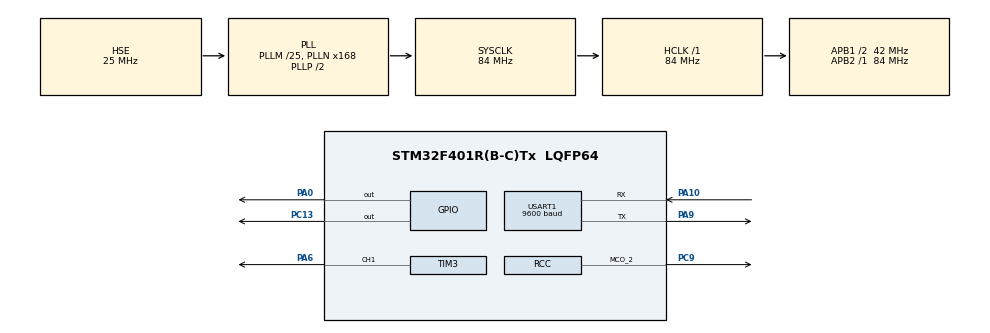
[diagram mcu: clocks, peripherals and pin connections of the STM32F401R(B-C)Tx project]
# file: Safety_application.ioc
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Mcu.Family=STM32F4
Mcu.Name=STM32F401R(B-C)Tx
Mcu.Package=LQFP64
NVIC.PriorityGroup=NVIC_PRIORITYGROUP_4
NVIC.TIM3_IRQn=true\:0\:0\:false\:false\:true\:true\:true\:true
NVIC.TIM5_IRQn=true\:0\:0\:false\:false\:true\:true\:true\:true
NVIC.USART1_IRQn=true\:1\:0\:true\:false\:true\:true\:true\:true
PA0-WKUP.Signal=GPIO_Output
PA10.Mode=Asynchronous
PA10.Signal=USART1_RX
PA13.Mode=Serial_Wire
PA13.Signal=SYS_JTMS-SWDIO
PA14.Mode=Serial_Wire
PA14.Signal=SYS_JTCK-SWCLK
PA6.Signal=S_TIM3_CH1
PA9.Mode=Asynchronous
PA9.Signal=USART1_TX
PC13-ANTI_TAMP.Signal=GPIO_Output
PC14-OSC32_IN.Mode=LSE-External-Oscillator
PC14-OSC32_IN.Signal=RCC_OSC32_IN
PC15-OSC32_OUT.Mode=LSE-External-Oscillator
PC15-OSC32_OUT.Signal=RCC_OSC32_OUT
PC9.Mode=Clock-out-2
PC9.Signal=RCC_MCO_2
PH0\ -\ OSC_IN.Mode=HSE-External-Oscillator
PH0\ -\ OSC_IN.Signal=RCC_OSC_IN
PH1\ -\ OSC_OUT.Mode=HSE-External-Oscillator
PH1\ -\ OSC_OUT.Signal=RCC_OSC_OUT
ProjectManager.HeapSize=0x200
ProjectManager.StackSize=0x400
ProjectManager.TargetToolchain=STM32CubeIDE
RCC.48MHZClocksFreq_Value=42000000
RCC.AHBFreq_Value=84000000
RCC.APB1CLKDivider=RCC_HCLK_DIV2
RCC.APB1Freq_Value=42000000
RCC.APB1TimFreq_Value=84000000
RCC.APB2Freq_Value=84000000
RCC.APB2TimFreq_Value=84000000
RCC.CortexFreq_Value=84000000
RCC.EnbaleCSS=true
RCC.HCLKFreq_Value=84000000
RCC.HSE_VALUE=25000000
RCC.HSI_VALUE=16000000
RCC.PLLM=25
RCC.PLLN=168
RCC.PLLSourceVirtual=RCC_PLLSOURCE_HSE
RCC.RCC_MCODiv2=RCC_MCODIV_5
RCC.RCC_RTC_Clock_Source=RCC_RTCCLKSOURCE_LSE
RCC.SYSCLKFreq_VALUE=84000000
RCC.SYSCLKSource=RCC_SYSCLKSOURCE_PLLCLK
RCC.VCOOutputFreq_Value=168000000
SH.S_TIM3_CH1.0=TIM3_CH1,PWM Generation1 CH1
TIM3.Channel-PWM\ Generation1\ CH1=TIM_CHANNEL_1
TIM3.Period=99
TIM3.Prescaler=839
TIM3.Pulse-PWM\ Generation1\ CH1=10
TIM5.Channel-Input_Capture4_from_TI4_Remap=TIM_CHANNEL_4
TIM5.TIM5_TI4_REMAP=TIM_TIM5_LSE
USART1.BaudRate=9600
USART1.Parity=PARITY_NONE
USART1.VirtualMode=VM_ASYNC
VP_RTC_VS_RTC_Activate.Mode=RTC_Enabled
VP_TIM3_VS_ClockSourceINT.Mode=Internal
VP_TIM5_VS_ClockSourceINT.Mode=Internal
VP_TIM5_VS_NoInput4.Mode=Input_Capture4_from_TI4_Remap
board=custom

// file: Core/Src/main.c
/* USER CODE BEGIN Header */
/**
 ******************************************************************************
 * @file           : main.c
 * @brief          : Main program body
 ******************************************************************************
 * @attention
 *
 * Copyright (c) 2026 STMicroelectronics.
 * All rights reserved.
 *
 * This software is licensed under terms that can be found in the LICENSE file
 * in the root directory of this software component.
 * If no LICENSE file comes with this software, it is provided AS-IS.
 *
 ******************************************************************************
 */
/* USER CODE END Header */
#include "main.h"

/* USER CODE BEGIN Includes */
#include <stdint.h>
#include "TMU.h"
#include "UART_FRAME.h"
#include "MPU.h"
#include "Safety.h"

/* USER CODE END Includes */

/* USER CODE BEGIN PTD */
/* USER APPLICATION: Stores the latest MPU fault information */
MPU_FaultInfoTypeDef fault_info;
/* USER CODE END PTD */

/* USER CODE BEGIN PD */
#define ID_1 1
#define SYSCLK_REFERENCE_HZ   84000000ULL
#define SYSCLK_MIN_HZ         74800000ULL   // 84 MHz - 5%
#define SYSCLK_MAX_HZ         88200000ULL   // 84 MHz + 5%
#define LSE_REFERENCE_HZ      32768ULL
/* USER CODE END PD */

RTC_HandleTypeDef hrtc;

TIM_HandleTypeDef htim3;
TIM_HandleTypeDef htim5;

UART_HandleTypeDef huart1;

/* USER CODE BEGIN PV */
uint8_t crc_send;
uint8_t crc_recieve;

USART_Frame_t frame = {0};
volatile uint8_t scheduler_flag = 0;
volatile uint8_t uart_tx_complete = 1;

volatile uint8_t HSE_Fault = 0;
volatile uint32_t capture1 = 0;
volatile uint32_t capture2 = 0;
volatile uint8_t capture_count = 0;

volatile uint32_t last_capture = 0;
volatile uint32_t capture_period = 0;
volatile uint8_t capture_valid = 0;

volatile uint8_t SYSCLK_Fault = 0;
volatile uint64_t measured_SYSCLK = 0;

uint8_t pwm_duty = 10;
uint8_t pwm_duty_previous = 10;
uint8_t pwm_sim_counter = 0;

/* USER CODE END PV */

void SystemClock_Config(void);
static void MX_GPIO_Init(void);
static void MX_USART1_UART_Init(void);
static void MX_TIM3_Init(void);
static void MX_TIM5_Init(void);
static void MX_RTC_Init(void);
/* USER CODE BEGIN PFP */

/* USER APPLICATION: Periodic LED task */
void LED_Task(void)
{
	HAL_GPIO_TogglePin(GPIOA, GPIO_PIN_0);
}

/* USER APPLICATION: Periodic UART frame transmission task */
void UART_Task(void)
{
	if (uart_tx_complete)
	{
		Send_Frame(&frame, &huart1);
	}
}

/* USER APPLICATION: Set PWM duty cycle (0-100%) */
void PWM_SetDutyCycle(uint8_t duty)
{
	uint32_t compare;

	if (duty > 100)
	{
		duty = 100;
	}

	compare = ((uint32_t)(htim3.Init.Period +1 ) * duty) / 100U;

	__HAL_TIM_SET_COMPARE(&htim3, TIM_CHANNEL_1, compare);
}

/* USER APPLICATION: Update PWM when duty cycle changes */
void DutyCycle_Task(void)
{
	if (pwm_duty != pwm_duty_previous)
	{
		PWM_SetDutyCycle(pwm_duty);

		pwm_duty_previous = pwm_duty;
	}
}

/* MPU TEST: Deliberately write to Flash to generate a data access violation */
void MPU_Test(void)
{
	volatile uint32_t *FlashAddress =
			(volatile uint32_t *)0x08000000U;

	*FlashAddress = 0x12345678U;
}

/* MPU TEST: Deliberately execute from RAM to generate an instruction access violation */
void MPU_Test_ExecuteFromRAM(void)
{
	typedef void (*FunctionPointer)(void);

	FunctionPointer ram_function =
			(FunctionPointer)0x20000001U;

	ram_function();
}

/* USER CODE END PFP */

int main(void)
{

	/* USER CODE BEGIN 1 */

	frame.id = SENDER_ID;
	for (uint8_t i = 0; i < 7; i++)
	{
		frame.data[i] =  i;
	}
	frame.liveness = 0;
	frame.crc = CRC8((const uint8_t *)&frame.data, 8);

	/* USER CODE END 1 */

	/* MCU Configuration--------------------------------------------------------*/

	/* Reset of all peripherals, Initializes the Flash interface and the Systick. */
	HAL_Init();

	/* Configure the system clock */
	SystemClock_Config();

	/* Initialize all configured peripherals */
	MX_GPIO_Init();
	MX_USART1_UART_Init();
	MX_TIM3_Init();
	MX_TIM5_Init();
	MX_RTC_Init();
	/* USER CODE BEGIN 2 */

	/* USER APPLICATION: Initialize Safety Layer and read persistent history */
	Safety_Init();

	/* USER APPLICATION: Configure and enable MPU protection */
	MPU_Init();

	/* USER TEST: Show the stored MPU-reset counter using PC13 pulses */
	//Safety_RunTestIndication();

	/* USER APPLICATION: Start normal application only when not in Safe State */
	if (!Safety_IsSafeState())
	{
		/* USER APPLICATION: Initialize Task Manager */
		TMU_Init();

		/* USER APPLICATION: Start periodic application tasks */
		TMU_StartTask(TMU_LED, 1);
		TMU_StartTask(TMU_PWM, 1);
		TMU_StartTask(TMU_UART, 1);

		/* USER APPLICATION: Start PWM output */
		HAL_TIM_PWM_Start(&htim3, TIM_CHANNEL_1);

		/* USER APPLICATION: Apply initial PWM duty cycle */
		PWM_SetDutyCycle(pwm_duty);

		/* USER APPLICATION: Start 1 ms scheduler */
		HAL_TIM_Base_Start_IT(&htim3);

		/* USER APPLICATION: Send first UART frame */
		Send_Frame(&frame, &huart1);

		/* USER APPLICATION: Start SYSCLK monitoring capture */
		HAL_TIM_IC_Start_IT(&htim5, TIM_CHANNEL_4);

		/* USER APPLICATION: PC13 is active-low, so SET = LED OFF */
		HAL_GPIO_WritePin(GPIOC, GPIO_PIN_13, GPIO_PIN_SET);
	}

	/* USER CODE END 2 */

	/* Infinite loop */
	/* USER CODE BEGIN WHILE */
	while (1)
	{

		Safety_Process();

		//		/* USER APPLICATION: Indicate HSE fault (PC13 active-low) */
		//		if (HSE_Fault)
		//		{
		//			HAL_GPIO_WritePin(GPIOC, GPIO_PIN_13, GPIO_PIN_SET);
		//		}
		//
		//		/* USER APPLICATION: Indicate SYSCLK fault (PC13 active-low) */
		//		if (SYSCLK_Fault)
		//		{
		//			HAL_GPIO_WritePin(GPIOC, GPIO_PIN_13, GPIO_PIN_RESET);
		//		}else
		//		{
		//			HAL_GPIO_WritePin(GPIOC, GPIO_PIN_13, GPIO_PIN_SET);
		//
		//		}

		/* MPU TEST: Generate one intentional MPU violation */
		static uint8_t test_done = 0;

		if (test_done == 0)
		{
			test_done = 1;
			MPU_Test_ExecuteFromRAM();
		}
		if (Safety_IsSafeState())
		{
			continue;
		}

		/* USER CODE END WHILE */

	}
}

void SystemClock_Config(void)
{
	RCC_OscInitTypeDef RCC_OscInitStruct = {0};
	RCC_ClkInitTypeDef RCC_ClkInitStruct = {0};

	/** Configure the main internal regulator output voltage
	 */
	__HAL_RCC_PWR_CLK_ENABLE();
	__HAL_PWR_VOLTAGESCALING_CONFIG(PWR_REGULATOR_VOLTAGE_SCALE2);

	/** Initializes the RCC Oscillators according to the specified parameters
	 * in the RCC_OscInitTypeDef structure.
	 */
	RCC_OscInitStruct.OscillatorType = RCC_OSCILLATORTYPE_HSE|RCC_OSCILLATORTYPE_LSE;
	RCC_OscInitStruct.HSEState = RCC_HSE_ON;
	RCC_OscInitStruct.LSEState = RCC_LSE_ON;
	RCC_OscInitStruct.PLL.PLLState = RCC_PLL_ON;
	RCC_OscInitStruct.PLL.PLLSource = RCC_PLLSOURCE_HSE;
	RCC_OscInitStruct.PLL.PLLM = 25;
	RCC_OscInitStruct.PLL.PLLN = 168;
	RCC_OscInitStruct.PLL.PLLP = RCC_PLLP_DIV2;
	RCC_OscInitStruct.PLL.PLLQ = 4;
	if (HAL_RCC_OscConfig(&RCC_OscInitStruct) != HAL_OK)
	{
		Error_Handler();
	}

	/** Initializes the CPU, AHB and APB buses clocks
	 */
	RCC_ClkInitStruct.ClockType = RCC_CLOCKTYPE_HCLK|RCC_CLOCKTYPE_SYSCLK
			|RCC_CLOCKTYPE_PCLK1|RCC_CLOCKTYPE_PCLK2;
	RCC_ClkInitStruct.SYSCLKSource = RCC_SYSCLKSOURCE_PLLCLK;
	RCC_ClkInitStruct.AHBCLKDivider = RCC_SYSCLK_DIV1;
	RCC_ClkInitStruct.APB1CLKDivider = RCC_HCLK_DIV2;
	RCC_ClkInitStruct.APB2CLKDivider = RCC_HCLK_DIV1;

	if (HAL_RCC_ClockConfig(&RCC_ClkInitStruct, FLASH_LATENCY_2) != HAL_OK)
	{
		Error_Handler();
	}
	HAL_RCC_MCOConfig(RCC_MCO2, RCC_MCO2SOURCE_SYSCLK, RCC_MCODIV_5);

	/** Enables the Clock Security System
	 */
	HAL_RCC_EnableCSS();
}

static void MX_RTC_Init(void)
{

	/** Initialize RTC Only
	 */
	hrtc.Instance = RTC;
	hrtc.Init.HourFormat = RTC_HOURFORMAT_24;
	hrtc.Init.AsynchPrediv = 127;
	hrtc.Init.SynchPrediv = 255;
	hrtc.Init.OutPut = RTC_OUTPUT_DISABLE;
	hrtc.Init.OutPutPolarity = RTC_OUTPUT_POLARITY_HIGH;
	hrtc.Init.OutPutType = RTC_OUTPUT_TYPE_OPENDRAIN;
	if (HAL_RTC_Init(&hrtc) != HAL_OK)
	{
		Error_Handler();
	}

}

static void MX_TIM3_Init(void)
{

	TIM_ClockConfigTypeDef sClockSourceConfig = {0};
	TIM_MasterConfigTypeDef sMasterConfig = {0};
	TIM_OC_InitTypeDef sConfigOC = {0};

	htim3.Instance = TIM3;
	htim3.Init.Prescaler = 839;
	htim3.Init.CounterMode = TIM_COUNTERMODE_UP;
	htim3.Init.Period = 99;
	htim3.Init.ClockDivision = TIM_CLOCKDIVISION_DIV1;
	htim3.Init.AutoReloadPreload = TIM_AUTORELOAD_PRELOAD_DISABLE;
	if (HAL_TIM_Base_Init(&htim3) != HAL_OK)
	{
		Error_Handler();
	}
	sClockSourceConfig.ClockSource = TIM_CLOCKSOURCE_INTERNAL;
	if (HAL_TIM_ConfigClockSource(&htim3, &sClockSourceConfig) != HAL_OK)
	{
		Error_Handler();
	}
	if (HAL_TIM_PWM_Init(&htim3) != HAL_OK)
	{
		Error_Handler();
	}
	sMasterConfig.MasterOutputTrigger = TIM_TRGO_RESET;
	sMasterConfig.MasterSlaveMode = TIM_MASTERSLAVEMODE_DISABLE;
	if (HAL_TIMEx_MasterConfigSynchronization(&htim3, &sMasterConfig) != HAL_OK)
	{
		Error_Handler();
	}
	sConfigOC.OCMode = TIM_OCMODE_PWM1;
	sConfigOC.Pulse = 10;
	sConfigOC.OCPolarity = TIM_OCPOLARITY_HIGH;
	sConfigOC.OCFastMode = TIM_OCFAST_DISABLE;
	if (HAL_TIM_PWM_ConfigChannel(&htim3, &sConfigOC, TIM_CHANNEL_1) != HAL_OK)
	{
		Error_Handler();
	}
	HAL_TIM_MspPostInit(&htim3);

}

static void MX_TIM5_Init(void)
{

	TIM_ClockConfigTypeDef sClockSourceConfig = {0};
	TIM_MasterConfigTypeDef sMasterConfig = {0};
	TIM_IC_InitTypeDef sConfigIC = {0};

	htim5.Instance = TIM5;
	htim5.Init.Prescaler = 0;
	htim5.Init.CounterMode = TIM_COUNTERMODE_UP;
	htim5.Init.Period = 4294967295;
	htim5.Init.ClockDivision = TIM_CLOCKDIVISION_DIV1;
	htim5.Init.AutoReloadPreload = TIM_AUTORELOAD_PRELOAD_DISABLE;
	if (HAL_TIM_Base_Init(&htim5) != HAL_OK)
	{
		Error_Handler();
	}
	sClockSourceConfig.ClockSource = TIM_CLOCKSOURCE_INTERNAL;
	if (HAL_TIM_ConfigClockSource(&htim5, &sClockSourceConfig) != HAL_OK)
	{
		Error_Handler();
	}
	if (HAL_TIM_IC_Init(&htim5) != HAL_OK)
	{
		Error_Handler();
	}
	sMasterConfig.MasterOutputTrigger = TIM_TRGO_RESET;
	sMasterConfig.MasterSlaveMode = TIM_MASTERSLAVEMODE_DISABLE;
	if (HAL_TIMEx_MasterConfigSynchronization(&htim5, &sMasterConfig) != HAL_OK)
	{
		Error_Handler();
	}
	sConfigIC.ICPolarity = TIM_INPUTCHANNELPOLARITY_RISING;
	sConfigIC.ICSelection = TIM_ICSELECTION_DIRECTTI;
	sConfigIC.ICPrescaler = TIM_ICPSC_DIV1;
	sConfigIC.ICFilter = 0;
	if (HAL_TIM_IC_ConfigChannel(&htim5, &sConfigIC, TIM_CHANNEL_4) != HAL_OK)
	{
		Error_Handler();
	}
	if (HAL_TIMEx_RemapConfig(&htim5, TIM_TIM5_LSE) != HAL_OK)
	{
		Error_Handler();
	}

}

static void MX_USART1_UART_Init(void)
{

	huart1.Instance = USART1;
	huart1.Init.BaudRate = 9600;
	huart1.Init.WordLength = UART_WORDLENGTH_8B;
	huart1.Init.StopBits = UART_STOPBITS_1;
	huart1.Init.Parity = UART_PARITY_NONE;
	huart1.Init.Mode = UART_MODE_TX_RX;
	huart1.Init.HwFlowCtl = UART_HWCONTROL_NONE;
	huart1.Init.OverSampling = UART_OVERSAMPLING_16;
	if (HAL_UART_Init(&huart1) != HAL_OK)
	{
		Error_Handler();
	}

}

static void MX_GPIO_Init(void)
{
	GPIO_InitTypeDef GPIO_InitStruct = {0};

	/* GPIO Ports Clock Enable */
	__HAL_RCC_GPIOC_CLK_ENABLE();
	__HAL_RCC_GPIOH_CLK_ENABLE();
	__HAL_RCC_GPIOA_CLK_ENABLE();

	/*Configure GPIO pin Output Level */
	HAL_GPIO_WritePin(GPIOC, GPIO_PIN_13, GPIO_PIN_RESET);

	/*Configure GPIO pin Output Level */
	HAL_GPIO_WritePin(GPIOA, GPIO_PIN_0, GPIO_PIN_RESET);

	/*Configure GPIO pin : PC13 */
	GPIO_InitStruct.Pin = GPIO_PIN_13;
	GPIO_InitStruct.Mode = GPIO_MODE_OUTPUT_PP;
	GPIO_InitStruct.Pull = GPIO_NOPULL;
	GPIO_InitStruct.Speed = GPIO_SPEED_FREQ_LOW;
	HAL_GPIO_Init(GPIOC, &GPIO_InitStruct);

	/*Configure GPIO pin : PA0 */
	GPIO_InitStruct.Pin = GPIO_PIN_0;
	GPIO_InitStruct.Mode = GPIO_MODE_OUTPUT_PP;
	GPIO_InitStruct.Pull = GPIO_NOPULL;
	GPIO_InitStruct.Speed = GPIO_SPEED_FREQ_LOW;
	HAL_GPIO_Init(GPIOA, &GPIO_InitStruct);

	/*Configure GPIO pin : PC9 */
	GPIO_InitStruct.Pin = GPIO_PIN_9;
	GPIO_InitStruct.Mode = GPIO_MODE_AF_PP;
	GPIO_InitStruct.Pull = GPIO_NOPULL;
	GPIO_InitStruct.Speed = GPIO_SPEED_FREQ_LOW;
	GPIO_InitStruct.Alternate = GPIO_AF0_MCO;
	HAL_GPIO_Init(GPIOC, &GPIO_InitStruct);

}

/* USER CODE BEGIN 4 */
/* USER APPLICATION: TMU 1 ms scheduler tick */
void HAL_TIM_PeriodElapsedCallback(TIM_HandleTypeDef *htim)
{
	if (htim->Instance == TIM3)
	{
		TMU_Tick();
	}
}

/* USER APPLICATION: UART transmission complete notification */
void HAL_UART_TxCpltCallback(UART_HandleTypeDef *huart)
{
	if (huart->Instance == USART1)
	{
		uart_tx_complete = 1;
	}
}

/* USER APPLICATION: HSE clock fault detection */
void HAL_RCC_CSSCallback(void)
{
	HSE_Fault = 1;
}

/* USER APPLICATION: SYSCLK measurement and fault detection */
void HAL_TIM_IC_CaptureCallback(TIM_HandleTypeDef *htim)
{
	if (htim->Instance == TIM5 &&
			htim->Channel == HAL_TIM_ACTIVE_CHANNEL_4)
	{
		uint32_t current_capture;

		current_capture = HAL_TIM_ReadCapturedValue(htim, TIM_CHANNEL_4);

		if (capture_valid)
		{
			capture_period = current_capture - last_capture;

			measured_SYSCLK = (uint64_t)capture_period * LSE_REFERENCE_HZ;

			if ((measured_SYSCLK < SYSCLK_MIN_HZ) ||
					(measured_SYSCLK > SYSCLK_MAX_HZ))
			{
				SYSCLK_Fault = 1;
			}
			else
			{
				SYSCLK_Fault = 0;
			}

		}
		else
		{
			capture_valid = 1;
		}

		last_capture = current_capture;
	}
}

/* USER CODE END 4 */

void Error_Handler(void)
{
	__disable_irq();
	while (1)
	{
	}
}
